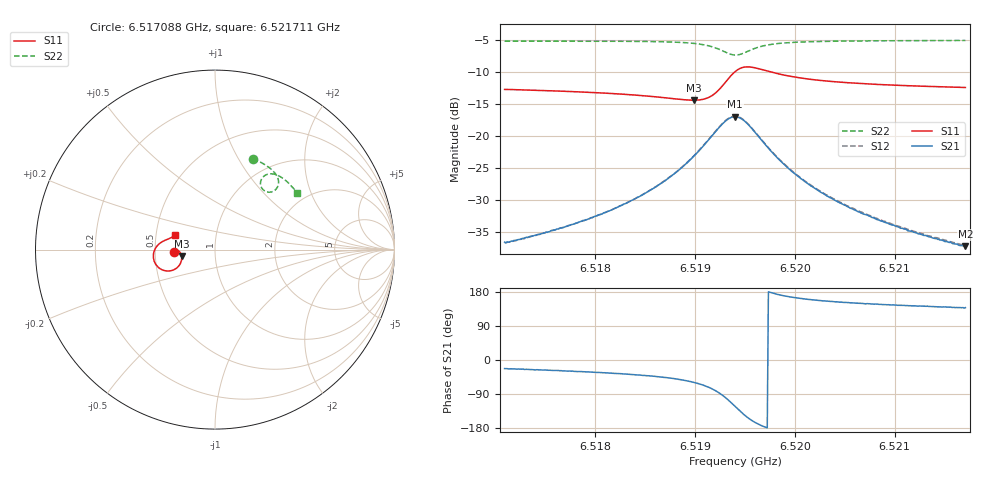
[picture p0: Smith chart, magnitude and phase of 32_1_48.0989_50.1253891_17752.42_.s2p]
#  HZ  S  RI  R  50.00
! Rohde & Schwarz Vector Network Analyzer
! Rohde-Schwarz,ZNB20-2Port,1311601062101988,3.16
! Created: UTC 12/23/2023, 3:37:45 AM
! freq[Hz]  re:S11  im:S11  re:S21  im:S21  re:S12  im:S12  re:S22  im:S22
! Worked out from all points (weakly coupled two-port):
!   401 points, 6.517088 GHz to 6.521711 GHz, reference 50 ohm
!   highest |S21| = -17.01 dB at 6.5194 GHz (marker M1); lowest = -37.3 dB at 6.521711 GHz (marker M2)
!   lowest |S11| = -14.4 dB at 6.518984 GHz (marker M3), VSWR 1.47, Z = 34.2 - j2.47 ohm
!   |S11| at or under -10 dB: start of sweep to 6.519398 GHz; 6.519754 GHz to end of sweep
!   |S22| runs from -7.4 to -5.1 dB; largest |S21 - S12| = 0.0043
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6.5170885e9  -0.23 -0.0154  0.0136 -0.00567  0.0136 -0.0052  0.2102 0.5068
6.5174698e9  -0.2257 -0.00983  0.0154 -0.00773  0.0157 -0.00714  0.2384 0.4946
6.5178628e9  -0.2199 -0.0055  0.0185 -0.0111  0.0188 -0.0105  0.2674 0.4794
6.518325e9  -0.2101 -0.00404  0.0239 -0.0184  0.0245 -0.0177  0.3023 0.4566
6.518637e9  -0.2003 -0.00907  0.0296 -0.0289  0.0306 -0.0281  0.3264 0.4352
6.518822e9  -0.1927 -0.0181  0.0337 -0.0408  0.0351 -0.0398  0.3409 0.4169
6.5189837e9  -0.1865 -0.0349  0.0355 -0.0591  0.0377 -0.0582  0.3515 0.394
6.5190993e9  -0.1863 -0.0566  0.0323 -0.0801  0.0348 -0.0796  0.3542 0.3703
6.5191802e9  -0.1936 -0.0788  0.0223 -0.1001  0.0253 -0.1  0.3488 0.3498
6.5193073e9  -0.2376 -0.1156  -0.0226 -0.129  -0.0191 -0.1307  0.3143 0.3211
6.5193536e9  -0.2663 -0.1193  -0.0491 -0.1294  -0.0456 -0.1319  0.2935 0.3205
6.5193998e9  -0.2966 -0.1115  -0.0753 -0.1192  -0.0724 -0.1225  0.2732 0.3292
6.519446e9  -0.3221 -0.0923  -0.096 -0.0997  -0.094 -0.1032  0.2588 0.346
6.5195038e9  -0.3401 -0.0601  -0.1083 -0.0697  -0.107 -0.0733  0.2533 0.3708
6.5196078e9  -0.339 -0.00883  -0.1016 -0.0259  -0.1018 -0.029  0.2679 0.4047
6.5197003e9  -0.324 0.0185  -0.0858 -0.00468  -0.0864 -0.00721  0.2887 0.4183
6.5199429e9  -0.2892 0.0468  -0.0535 0.0124  -0.0545 0.011  0.332 0.4199
6.5201741e9  -0.2699 0.0554  -0.0374 0.0144  -0.0382 0.0135  0.3593 0.409
6.5205439e9  -0.2521 0.0625  -0.0242 0.0132  -0.0249 0.0128  0.3903 0.388
6.5209484e9  -0.2403 0.0682  -0.0168 0.0115  -0.0175 0.0113  0.4166 0.3641
6.5213413e9  -0.2318 0.0736  -0.0127 0.0101  -0.0132 0.00999  0.4385 0.3401
6.5217111e9  -0.2252 0.0787  -0.0102 0.00915  -0.0106 0.00905  0.4568 0.3172
